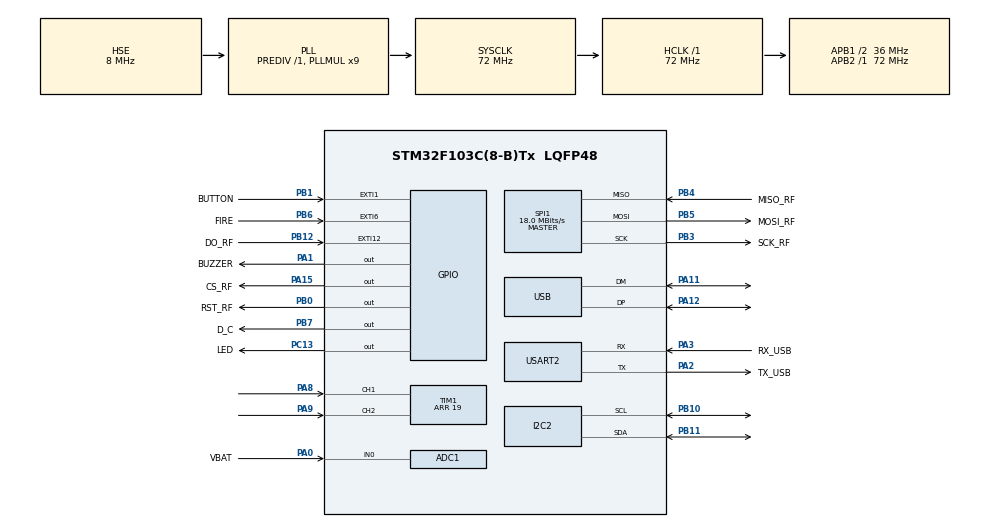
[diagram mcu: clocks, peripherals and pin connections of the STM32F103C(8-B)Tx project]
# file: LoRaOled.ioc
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ADC1.Channel-0\#ChannelRegularConversion=ADC_CHANNEL_0
ADC1.NbrOfConversion=1
ADC1.NbrOfConversionFlag=1
ADC1.Rank-0\#ChannelRegularConversion=1
ADC1.SamplingTime-0\#ChannelRegularConversion=ADC_SAMPLETIME_1CYCLE_5
ADC1.master=1
I2C2.I2C_Mode=I2C_Fast
Mcu.Family=STM32F1
Mcu.Name=STM32F103C(8-B)Tx
Mcu.Package=LQFP48
NVIC.ADC1_2_IRQn=true\:0\:0\:false\:false\:true\:true\:true
NVIC.EXTI15_10_IRQn=true\:0\:0\:false\:false\:true\:true\:true
NVIC.EXTI1_IRQn=true\:0\:0\:false\:false\:true\:true\:true
NVIC.EXTI9_5_IRQn=true\:0\:0\:false\:false\:true\:true\:true
NVIC.PVD_IRQn=true\:0\:0\:false\:false\:true\:true\:true
NVIC.PriorityGroup=NVIC_PRIORITYGROUP_4
NVIC.RCC_IRQn=true\:0\:0\:false\:false\:true\:true\:false
NVIC.SPI1_IRQn=true\:0\:0\:false\:true\:true\:1\:true\:true
NVIC.USB_LP_CAN1_RX0_IRQn=true\:0\:0\:false\:false\:true\:false\:true
PA0-WKUP.GPIO_Label=VBAT
PA0-WKUP.Signal=ADCx_IN0
PA1.GPIO_Label=BUZZER
PA1.GPIO_ModeDefaultOutputPP=GPIO_MODE_OUTPUT_PP
PA1.Signal=GPIO_Output
PA11.Mode=Device
PA11.Signal=USB_DM
PA12.Mode=Device
PA12.Signal=USB_DP
PA13.Mode=Serial_Wire
PA13.Signal=SYS_JTMS-SWDIO
PA14.Mode=Serial_Wire
PA14.Signal=SYS_JTCK-SWCLK
PA15.GPIO_Label=CS_RF
PA15.Signal=GPIO_Output
PA2.GPIO_Label=TX_USB
PA2.Mode=Asynchronous
PA2.Signal=USART2_TX
PA3.GPIO_Label=RX_USB
PA3.Mode=Asynchronous
PA3.Signal=USART2_RX
PA8.Signal=S_TIM1_CH1
PA9.Signal=S_TIM1_CH2
PB0.GPIO_Label=RST_RF
PB0.Signal=GPIO_Output
PB1.GPIO_Label=BUTTON
PB1.GPIO_ModeDefaultEXTI=GPIO_MODE_IT_FALLING
PB1.GPIO_PuPd=GPIO_PULLDOWN
PB1.Signal=GPXTI1
PB10.Mode=I2C
PB10.Signal=I2C2_SCL
PB11.Mode=I2C
PB11.Signal=I2C2_SDA
PB12.GPIO_Label=DO_RF
PB12.GPIO_ModeDefaultEXTI=GPIO_MODE_IT_RISING
PB12.GPIO_PuPd=GPIO_PULLDOWN
PB12.Signal=GPXTI12
PB3.GPIO_Label=SCK_RF
PB3.Mode=Full_Duplex_Master
PB3.Signal=SPI1_SCK
PB4.GPIO_Label=MISO_RF
PB4.Mode=Full_Duplex_Master
PB4.Signal=SPI1_MISO
PB5.GPIO_Label=MOSI_RF
PB5.Mode=Full_Duplex_Master
PB5.Signal=SPI1_MOSI
PB6.GPIO_Label=FIRE
PB6.GPIO_ModeDefaultEXTI=GPIO_MODE_IT_FALLING
PB6.GPIO_PuPd=GPIO_NOPULL
PB6.Signal=GPXTI6
PB7.GPIO_Label=D_C
PB7.Signal=GPIO_Output
PC13-TAMPER-RTC.GPIO_Label=LED
PC13-TAMPER-RTC.Signal=GPIO_Output
PC14-OSC32_IN.Mode=LSE-External-Oscillator
PC14-OSC32_IN.Signal=RCC_OSC32_IN
PC15-OSC32_OUT.Mode=LSE-External-Oscillator
PC15-OSC32_OUT.Signal=RCC_OSC32_OUT
PD0-OSC_IN.Mode=HSE-External-Oscillator
PD0-OSC_IN.Signal=RCC_OSC_IN
PD1-OSC_OUT.Mode=HSE-External-Oscillator
PD1-OSC_OUT.Signal=RCC_OSC_OUT
ProjectManager.HeapSize=0x200
ProjectManager.StackSize=0x400
ProjectManager.TargetToolchain=STM32CubeIDE
RCC.ADCPresc=RCC_ADCPCLK2_DIV6
RCC.AHBFreq_Value=72000000
RCC.APB1CLKDivider=RCC_HCLK_DIV2
RCC.APB1Freq_Value=36000000
RCC.APB1TimFreq_Value=72000000
RCC.APB2Freq_Value=72000000
RCC.APB2TimFreq_Value=72000000
RCC.HCLKFreq_Value=72000000
RCC.PLLMUL=RCC_PLL_MUL9
RCC.PLLSourceVirtual=RCC_PLLSOURCE_HSE
RCC.RTCClockSelection=RCC_RTCCLKSOURCE_LSE
RCC.SYSCLKFreq_VALUE=72000000
RCC.SYSCLKSource=RCC_SYSCLKSOURCE_PLLCLK
RCC.USBFreq_Value=48000000
RCC.USBPrescaler=RCC_USBCLKSOURCE_PLL_DIV1_5
RTC.Date=21
RTC.Format=RTC_FORMAT_BIN
RTC.Hours=17
RTC.Minutes=9
RTC.Month=RTC_MONTH_JUNE
RTC.WeekDay=RTC_WEEKDAY_SUNDAY
RTC.Year=20
SH.ADCx_IN0.0=ADC1_IN0,IN0
SH.S_TIM1_CH1.0=TIM1_CH1,Encoder_Interface
SH.S_TIM1_CH2.0=TIM1_CH2,Encoder_Interface
SPI1.BaudRatePrescaler=SPI_BAUDRATEPRESCALER_4
SPI1.CalculateBaudRate=18.0 MBits/s
SPI1.Direction=SPI_DIRECTION_2LINES
SPI1.Mode=SPI_MODE_MASTER
SPI1.VirtualType=VM_MASTER
TIM1.CounterMode=TIM_COUNTERMODE_UP
TIM1.EncoderMode=TIM_ENCODERMODE_TI12
TIM1.IC1Filter=15
TIM1.IC2Filter=15
TIM1.Period=19
USART2.VirtualMode=VM_ASYNC
USB_DEVICE.CLASS_NAME_FS=CDC
USB_DEVICE.VirtualMode=Cdc
USB_DEVICE.VirtualModeFS=Cdc_FS
VP_RTC_No_RTC_Output.Mode=RTC_OUT_NO
VP_RTC_VS_RTC_Activate.Mode=RTC_Enabled
VP_RTC_VS_RTC_Calendar.Mode=RTC_Calendar
VP_USB_DEVICE_VS_USB_DEVICE_CDC_FS.Mode=CDC_FS
board=custom

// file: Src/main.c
/* USER CODE BEGIN Header */
/**
  ******************************************************************************
  * @file           : main.c
  * @brief          : Main program body
  ******************************************************************************
  * @attention
  *
  * <h2><center>&copy; Copyright (c) 2020 STMicroelectronics.
  * All rights reserved.</center></h2>
  *
  * This software component is licensed by ST under BSD 3-Clause license,
  * the "License"; You may not use this file except in compliance with the
  * License. You may obtain a copy of the License at:
  *                        opensource.org/licenses/BSD-3-Clause
  *
  ******************************************************************************
  */
/* USER CODE END Header */

#include "main.h"
#include "adc.h"
#include "i2c.h"
#include "rtc.h"
#include "spi.h"
#include "tim.h"
#include "usart.h"
#include "usb_device.h"
#include "gpio.h"

/* USER CODE BEGIN Includes */

#include "stdio.h"
#include "SX1278.h"
#include "ssd1306.h"
#include <stdio.h>
#include <string.h>
#include <usbd_cdc_if.h>

/* USER CODE END Includes */

/* USER CODE BEGIN PV */
_Bool flag_new_position = 0;
_Bool flag_BUTTON_cliked = 0;
_Bool flag_FIRE_cliked = 0;
int ret;
uint8_t buffer[64];
int adc_flag;
int adc_value;
enum state {INIT, SET_TIME, DEFAULT_SCREEN, SETTINGS, ARMING, DISARMING, COUNTING_DOWN, LAUNCH, NO_PACKETS};
SX1278_hw_t SX1278_hw;
SX1278_t SX1278;
ROCKET_DATA Actual_data;
volatile uint16_t pulse_count; // Licznik impulsow
volatile uint16_t positions; // Licznik przekreconych pozycji

RTC_TimeTypeDef RtcTime;
RTC_DateTypeDef RtcDate;

/* USER CODE END PV */

void SystemClock_Config(void);
static void MX_NVIC_Init(void);
/* USER CODE BEGIN PFP */

//Funkcja obsługi przerwania dla odebania paczki danych z modułu LoRa
void HAL_GPIO_EXTI_Callback(uint16_t GPIO_Pin);
//Funcja obsługi przerwania ADC
void HAL_ADC_ConvCpltCallback( ADC_HandleTypeDef *hadc);
//Funkcja miga diodą blink_times -razy z czasem time
void LED_blink(int blink_times, int time);
//Funkcja wlaczajaca buzzer na time_delay milisekund
void Beep(int time_delay);
// Przeciazenie funkcji printf, aby wysylala dane po UART
int _write(int file, char *ptr, int len);

/*    Funckja przyjmuje jako parametry:     */
/* szer.geo., dlug.geo., wysokosc, predkosc */
/* korzysta z funkcji printf i wysyła dane  */
/*  w formacie SSSS/DDDD/WWWW/PPPP zwraca   */
/*  wartosc zwracana przez funkcje pritf.    */
int writeUART(float latitude, float longitude, float altitude, float velocity, int rssi, int snr);
int writeUART2(float latitude, float longitude, int name);
int writeUART3(float latitude, float longitude, float altitude, float velocity, int rssi, int snr);
int writeUART4();

/* USER CODE END PFP */

/* USER CODE BEGIN 0 */

//

/* USER CODE END 0 */

int main(void)
{

  /* MCU Configuration--------------------------------------------------------*/

  /* Reset of all peripherals, Initializes the Flash interface and the Systick. */
  HAL_Init();

  /* Configure the system clock */
  SystemClock_Config();

  /* Initialize all configured peripherals */
  MX_GPIO_Init();
  MX_ADC1_Init();
  MX_SPI1_Init();
  MX_USART2_UART_Init();
  MX_I2C2_Init();
  MX_RTC_Init();
  MX_USB_DEVICE_Init();
  MX_TIM1_Init();

  /* Initialize interrupts */
  MX_NVIC_Init();
  /* USER CODE BEGIN 2 */
  //HAL_TIM_Base_Start_IT(&htim1);
  HAL_TIM_Encoder_Start(&htim1, TIM_CHANNEL_ALL);
  HAL_ADC_Start_IT(&hadc1);
  ssd1306_Init();
  //ssd1306_Print_initial_screen();
  //HAL_Delay(2000);

	//initialize LoRa module
	SX1278_hw.dio0.port = DO_RF_GPIO_Port;
	SX1278_hw.dio0.pin = DO_RF_Pin;
	SX1278_hw.nss.port = CS_RF_GPIO_Port;
	SX1278_hw.nss.pin = CS_RF_Pin;
	SX1278_hw.reset.port = RST_RF_GPIO_Port;
	SX1278_hw.reset.pin = RST_RF_Pin;
	SX1278_hw.spi = &hspi1;

	SX1278.hw = &SX1278_hw;

	SX1278_begin(&SX1278, 868E6, SX1278_POWER_20DBM, SX1278_LORA_SF_7, SX1278_LORA_BW_125KHZ, 10); //sf8 default sf7
	ret = SX1278_LoRaEntryRx(&SX1278, 16, 2000);
	//deafault
	//SX1278_LORA_SF_7

  /* USER CODE END 2 */

  /* Infinite loop */
  /* USER CODE BEGIN WHILE */
	//char str_lat[]="00000000", str_lon[]= "00000000", str_alt[]= "000000", str_vel[]= "0000";
	float V_Bat = 0.0;
	//uint8_t current_state = INIT;
	//int name = 0;

	while (1){

//		switch (current_state)
//		{
//			case INIT:
//				ssd1306_Print_initial_screen();
//				if (HAL_GetTick() >= 2000) current_state = SET_TIME;
//				break;
//
//			case SET_TIME:
//				ssd1306_Print_settime_screen();
//				if(flag_BUTTON_cliked){
//					flag_BUTTON_cliked = 0;
//					current_state = DEFAULT_SCREEN;
//				}
//				break;
//
//			case DEFAULT_SCREEN:
//				ssd1306_Print_default_screen();
//				if(flag_BUTTON_cliked){
//					flag_BUTTON_cliked = 0;
//					current_state = SETTINGS;
//				}
//				if(flag_FIRE_cliked && Actual_data.soft_arm){
//					flag_FIRE_cliked = 0;
//					current_state = COUNTING_DOWN;
//				}
//				break;
//
//			case SETTINGS:
//				ssd1306_Print_settings_screen();
//				if(flag_BUTTON_cliked){
//					flag_BUTTON_cliked = 0;
//					int rand_variable = rand();
//					if( (rand_variable % 3) == 0 ) current_state = ARMING;
//					if( (rand_variable % 3) == 1 ) current_state = DISARMING;
//					if( (rand_variable % 3) == 2 ) current_state = DEFAULT_SCREEN;
//				}
//				break;
//
//			case ARMING:
//				ssd1306_Print_arming_screen();
//				if(flag_BUTTON_cliked){
//					flag_BUTTON_cliked = 0;
//					current_state = DEFAULT_SCREEN;
//				}
//				break;
//
//			case DISARMING:
//				ssd1306_Print_disarming_screen();
//				if(flag_BUTTON_cliked){
//					flag_BUTTON_cliked = 0;
//					current_state = DEFAULT_SCREEN;
//				}
//				break;
//
//			case COUNTING_DOWN:
//				ssd1306_Print_counting_screen();
//				//counting 10sek to fire
//				if( (HAL_GPIO_ReadPin(FIRE_GPIO_Port, FIRE_Pin) == 0) && Actual_data.soft_arm){
//					flag_FIRE_cliked = 0;
//					current_state = LAUNCH;
//				}else{
//					flag_FIRE_cliked = 0;
//					current_state = DISARMING;
//				}
//				break;
//
//			case LAUNCH:
//				ssd1306_Print_launch_screen();
//				//delay 1-2sek
//				current_state = DEFAULT_SCREEN;
//				break;
//
//		}

		if(flag_new_position){
			flag_new_position = 0;
			//message_length = sprintf(buffer, "S %f %f %f %d %d %d %f %d %d",GPS.GPGGA.LatitudeDecimal, GPS.GPGGA.LongitudeDecimal, GPS.GPGGA.MSL_Altitude, GPS.GPGGA.UTC_Hour, GPS.GPGGA.UTC_Min, GPS.GPGGA.UTC_Sec, GPS.GPGGA.HDOP, GPS.GPGGA.SatellitesUsed, GPS.GPGGA.PositionFixIndicator);
			//sscanf(buffer,"%f",&Actual_data.latitude);
			char header[1];
			sscanf(buffer, "%s %f %f %f %d %d %d %f %d %d",header, &Actual_data.latitude, &Actual_data.longitude, &Actual_data.altitude, &Actual_data.hours, &Actual_data.minutes, &Actual_data.seconds, &Actual_data.hdop, &Actual_data.satelites, &Actual_data.fix);

			Actual_data.rssi = SX1278_RSSI_LoRa(&SX1278);
			Actual_data.snr = SX1278_SNR_LoRa(&SX1278);

			HAL_RTC_GetTime(&hrtc, &RtcTime, RTC_FORMAT_BIN);
			HAL_RTC_GetDate(&hrtc, &RtcDate, RTC_FORMAT_BIN);

			Actual_data.soft_arm = 1;

			//ssd1306_Print(lat, lon, alt, vel, V_Bat, rssi, snr, RtcTime.Hours, RtcTime.Minutes, RtcTime.Seconds);
			//writeUART(lat, lon, alt, vel, rssi, snr);
			//writeUART2(Actual_data.latitude, Actual_data.longitude, name++);
			//writeUART3(Actual_data.latitude, Actual_data.longitude, Actual_data.altitude, Actual_data.velocity, Actual_data.rssi, Actual_data.snr);
			writeUART4();
			ssd1306_Print(Actual_data.latitude, Actual_data.longitude, Actual_data.altitude, 0, V_Bat, Actual_data.rssi, Actual_data.snr, RtcTime.Hours, RtcTime.Minutes, RtcTime.Seconds);
//			switch (positions)
//			{
//				case 0:
//
//					break;
//				case 1:
//					ssd1306_Print_1screen();
//					break;
//				case 2:
//					ssd1306_Print_2screen();
//					break;
//				case 3:
//					ssd1306_Print_3screen();
//					break;
//				case 4:
//					ssd1306_Print_menu();
//					if(flag_BUTTON_cliked){
//						flag_BUTTON_cliked = 0;
//						while(!flag_BUTTON_cliked){
//							ssd1306_Print_inmenu();
//						}
//						flag_BUTTON_cliked = 0;
//					}
//					break;
//				default:
//
//					break;
//			}

			//printf("Date: %02d.%02d.20%02d Time: %02d:%02d:%02d\n\r", RtcDate.Date, RtcDate.Month, RtcDate.Year, RtcTime.Hours, RtcTime.Minutes, RtcTime.Seconds);
			Beep(2);
		}

		  if (adc_flag == 1 ){
			  adc_flag=0;
			  V_Bat = adc_value * (4.2/4096) *1.33;
			  HAL_ADC_Start_IT(&hadc1);
		  }

		  pulse_count = TIM1->CNT; // przepisanie wartosci z rejestru timera
		  positions = pulse_count/4; // zeskalowanie impulsow do liczby stabilnych pozycji walu enkodera

//		if(zmiana){
//			zmiana = false;
//			update_screen(current_state, RtcDate, RtcTime, Actual_data, positions);
//		}
//		watchdog++;
//		HAL_Delay(100);
//		if(watchdog >= 50){
//			ssd1306_Print_No_Signal(V_Bat);
//			Beep(200);
//		}
    /* USER CODE END WHILE */

  }
}

void SystemClock_Config(void)
{
  RCC_OscInitTypeDef RCC_OscInitStruct = {0};
  RCC_ClkInitTypeDef RCC_ClkInitStruct = {0};
  RCC_PeriphCLKInitTypeDef PeriphClkInit = {0};

  /** Initializes the CPU, AHB and APB busses clocks
  */
  RCC_OscInitStruct.OscillatorType = RCC_OSCILLATORTYPE_HSE|RCC_OSCILLATORTYPE_LSE;
  RCC_OscInitStruct.HSEState = RCC_HSE_ON;
  RCC_OscInitStruct.HSEPredivValue = RCC_HSE_PREDIV_DIV1;
  RCC_OscInitStruct.LSEState = RCC_LSE_ON;
  RCC_OscInitStruct.HSIState = RCC_HSI_ON;
  RCC_OscInitStruct.PLL.PLLState = RCC_PLL_ON;
  RCC_OscInitStruct.PLL.PLLSource = RCC_PLLSOURCE_HSE;
  RCC_OscInitStruct.PLL.PLLMUL = RCC_PLL_MUL9;
  if (HAL_RCC_OscConfig(&RCC_OscInitStruct) != HAL_OK)
  {
    Error_Handler();
  }
  /** Initializes the CPU, AHB and APB busses clocks
  */
  RCC_ClkInitStruct.ClockType = RCC_CLOCKTYPE_HCLK|RCC_CLOCKTYPE_SYSCLK
                              |RCC_CLOCKTYPE_PCLK1|RCC_CLOCKTYPE_PCLK2;
  RCC_ClkInitStruct.SYSCLKSource = RCC_SYSCLKSOURCE_PLLCLK;
  RCC_ClkInitStruct.AHBCLKDivider = RCC_SYSCLK_DIV1;
  RCC_ClkInitStruct.APB1CLKDivider = RCC_HCLK_DIV2;
  RCC_ClkInitStruct.APB2CLKDivider = RCC_HCLK_DIV1;

  if (HAL_RCC_ClockConfig(&RCC_ClkInitStruct, FLASH_LATENCY_2) != HAL_OK)
  {
    Error_Handler();
  }
  PeriphClkInit.PeriphClockSelection = RCC_PERIPHCLK_RTC|RCC_PERIPHCLK_ADC
                              |RCC_PERIPHCLK_USB;
  PeriphClkInit.RTCClockSelection = RCC_RTCCLKSOURCE_LSE;
  PeriphClkInit.AdcClockSelection = RCC_ADCPCLK2_DIV6;
  PeriphClkInit.UsbClockSelection = RCC_USBCLKSOURCE_PLL_DIV1_5;
  if (HAL_RCCEx_PeriphCLKConfig(&PeriphClkInit) != HAL_OK)
  {
    Error_Handler();
  }
}

/**
  * @brief NVIC Configuration.
  * @retval None
  */
static void MX_NVIC_Init(void)
{
  /* SPI1_IRQn interrupt configuration */
  HAL_NVIC_SetPriority(SPI1_IRQn, 0, 0);
  HAL_NVIC_EnableIRQ(SPI1_IRQn);
}

/* USER CODE BEGIN 4 */

void HAL_GPIO_EXTI_Callback(uint16_t GPIO_Pin)
{
	if(GPIO_Pin == DO_RF_Pin){
			ret = SX1278_LoRaRxPacket(&SX1278);
				 	if (ret > 0) {
				 		SX1278_read(&SX1278, (uint8_t *) buffer, ret);
					 	//printf("Zawartość pakietu (%d): %s\r\n", ret, buffer);
					 	flag_new_position = 1;
				 	}
				 	HAL_GPIO_TogglePin(LED_GPIO_Port, LED_Pin);
		}
	if(GPIO_Pin == BUTTON_Pin){
			flag_BUTTON_cliked = 1;
		}
	if(GPIO_Pin == FIRE_Pin){
			flag_FIRE_cliked = 1;
		}
}

void HAL_ADC_ConvCpltCallback( ADC_HandleTypeDef *hadc){
	if(hadc == &hadc1){
		adc_flag = 1;
		adc_value = HAL_ADC_GetValue(hadc);
	}
}

void LED_blink(int blink_times, int time){

    for(int i = 0; i < blink_times; i++){
        //blue pill set-wyłączona, reset-włączona
        HAL_GPIO_WritePin(LED_GPIO_Port, LED_Pin, GPIO_PIN_SET);
        HAL_Delay(time);
        HAL_GPIO_WritePin(LED_GPIO_Port, LED_Pin, GPIO_PIN_RESET);
        HAL_Delay(time);
    }
    HAL_GPIO_WritePin(LED_GPIO_Port, LED_Pin, GPIO_PIN_SET);
}

void Beep(int time_delay){
	HAL_GPIO_WritePin(BUZZER_GPIO_Port, BUZZER_Pin, GPIO_PIN_SET);
	HAL_Delay(time_delay);
	HAL_GPIO_WritePin(BUZZER_GPIO_Port, BUZZER_Pin, GPIO_PIN_RESET);
}

int _write(int file, char *ptr, int len){
    HAL_UART_Transmit(&huart2, (uint8_t*)ptr, len, 50);
    CDC_Transmit_FS((uint8_t*)ptr, len);
    return len;
}

int writeUART(float latitude, float longitude, float altitude, float velocity, int rssi, int snr){
    return printf("%f/%f/%f/%f/%d/%d\n\r", latitude, longitude, altitude, velocity, rssi, snr);
}

int writeUART2(float latitude, float longitude, int name){
    return printf("{\"lat\":\"%f\",\"lon\":\"%f\",\"name\":%d}\r\n", latitude, longitude, name);
}

int writeUART4(){
    return printf("{\"lat\":%f,\"lon\":%f,\"alt\":%f,\"hdop\":%f,\"hours\":%d,\"minutes\":%d,\"seconds\":%d,\"satelites\":%d,\"fix\":%d,\"rssi\":%d,\"snr\":%d}\r\n", Actual_data.latitude, Actual_data.longitude, Actual_data.altitude, Actual_data.hdop, Actual_data.hours,Actual_data.minutes, Actual_data.seconds , Actual_data.satelites, Actual_data.fix, Actual_data.rssi, Actual_data.snr);
}

/* USER CODE END 4 */

void Error_Handler(void)
{
}

/************************ (C) COPYRIGHT STMicroelectronics *****END OF FILE****/
